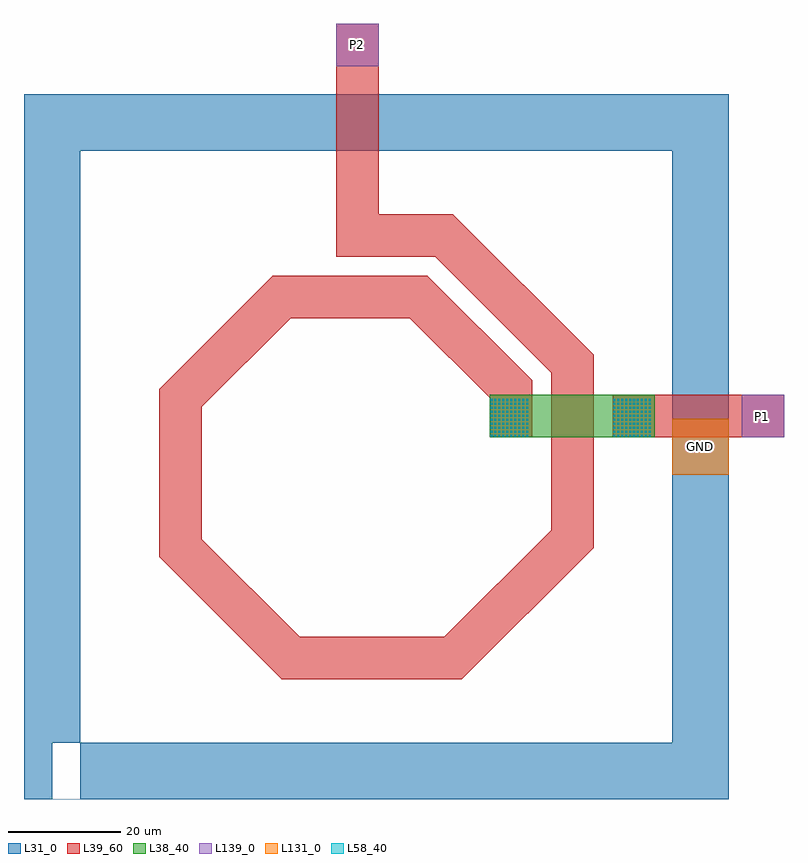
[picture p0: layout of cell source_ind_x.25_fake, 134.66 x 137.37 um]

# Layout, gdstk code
import gdstk
lib = gdstk.Library(unit=1e-6, precision=1e-09)
def R(c, l, rs):  # rectangles x0, y0, x1, y1
    for r in rs: c.add(gdstk.rectangle(r[:2], r[2:], *l))
def A(c, l, x, y, w, h, nx, ny, dx, dy):  # array of equal rectangles
    R(c, l, [(x+i*dx, y+j*dy, x+i*dx+w, y+j*dy+h) for i in range(nx) for j in range(ny)])
def P(c, l, *ps):  # polygons
    for p in ps: c.add(gdstk.Polygon(p, *l))
L31_0 = (31, 0)
L38_40 = (38, 40)
L39_60 = (39, 60)
L58_40 = (58, 40)
L131_0 = (131, 0)
L139_0 = (139, 0)

source_ind_x_25_fake = lib.new_cell('source_ind_x.25_fake')
P(source_ind_x_25_fake, L31_0, [(-57.435,-52.435),(-57.435,-62.435),(62.435,-62.435),(62.435,62.435),(-62.435,62.435),(-62.435,-62.435),(-52.435,-62.435),(-52.435,52.435),(52.435,52.435),(52.435,-52.435)])
R(source_ind_x_25_fake, L38_40, [(20.095,1.69,49.345,9.19)])
R(source_ind_x_25_fake, L39_60, [(41.845,1.69,72.22,9.19)])
P(source_ind_x_25_fake, L39_60, [(20.095,1.69),(27.595,1.69),(27.595,11.759),(9.038,30.31),(-18.323,30.31),(-38.47,10.169),(-38.47,-19.449),(-16.728,-41.185),(15.138,-41.185),(38.47,-17.859),(38.47,16.264),(13.543,41.185),(0.375,41.185),(0.375,74.935),(-7.125,74.935),(-7.125,33.685),(10.437,33.685),(30.97,13.156),(30.97,-14.751),(12.032,-33.685),(-13.622,-33.685),(-30.97,-16.341),(-30.97,7.061),(-15.217,22.81),(5.932,22.81),(20.095,8.651)])
A(source_ind_x_25_fake, L58_40, 20.215, 1.81, 0.36, 0.36, 10, 3, 0.7, 0.7)
A(source_ind_x_25_fake, L58_40, 41.965, 1.81, 0.36, 0.36, 10, 3, 0.7, 0.7)
A(source_ind_x_25_fake, L58_40, 20.215, 3.905, 0.36, 0.365, 10, 2, 0.7, 2.1)
A(source_ind_x_25_fake, L58_40, 41.965, 3.905, 0.36, 0.365, 10, 2, 0.7, 2.1)
A(source_ind_x_25_fake, L58_40, 20.215, 4.61, 0.36, 0.36, 10, 2, 0.7, 0.7)
A(source_ind_x_25_fake, L58_40, 41.965, 4.61, 0.36, 0.36, 10, 2, 0.7, 0.7)
A(source_ind_x_25_fake, L58_40, 20.215, 6.71, 0.36, 0.36, 10, 2, 0.7, 0.7)
A(source_ind_x_25_fake, L58_40, 41.965, 6.71, 0.36, 0.36, 10, 2, 0.7, 0.7)
A(source_ind_x_25_fake, L58_40, 20.215, 8.11, 0.36, 0.355, 10, 1, 0.7, 0)
A(source_ind_x_25_fake, L58_40, 41.965, 8.11, 0.36, 0.355, 10, 1, 0.7, 0)
R(source_ind_x_25_fake, L131_0, [(52.435,-5,62.435,5)])
R(source_ind_x_25_fake, L139_0, [(64.72,1.69,72.22,9.19), (-7.125,67.435,0.375,74.935)])
source_ind_x_25_fake.add(gdstk.Label('P1', (68.468,5.437), layer=139, texttype=0))
source_ind_x_25_fake.add(gdstk.Label('P2', (-3.375,71.187), layer=139, texttype=0))
source_ind_x_25_fake.add(gdstk.Label('GND', (57.437,0), layer=131, texttype=0))

lib.write_gds('source_ind_x.25_fake.gds')
